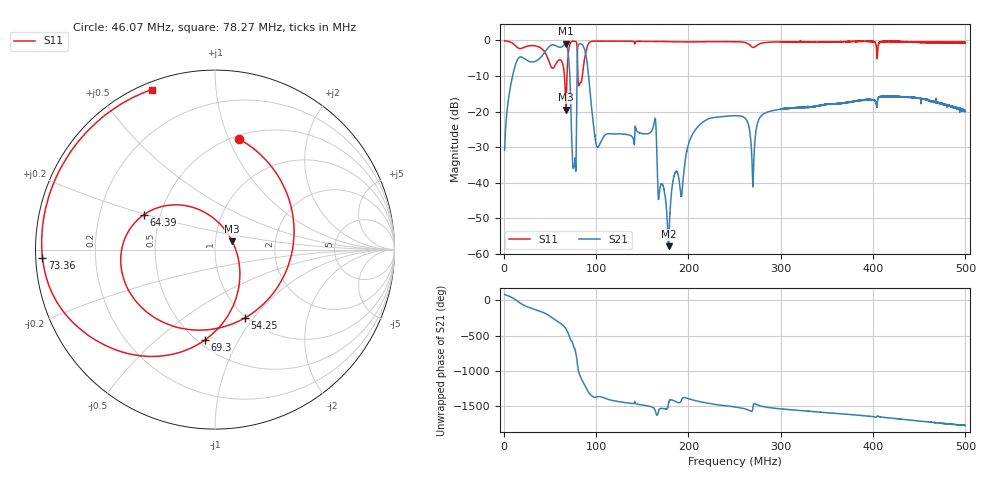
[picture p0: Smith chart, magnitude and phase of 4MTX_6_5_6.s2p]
! NanoVNA-App
! Date: 2026-08-18 21:48:41
! Start: 1MHz Stop: 500MHz Points: 6401
! S-Parameter data: F S11 S21 S12 S22
# Hz S RI R 50
!  Frequency  S11_Real  S11_Imag  S21_Real  S21_Imag  S12_Real  S12_Imag  S22_Real  S22_Imag
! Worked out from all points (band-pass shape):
!   6401 points, 1 MHz to 500 MHz, reference 50 ohm
!   highest |S21| = -0.88 dB at 67.12 MHz (marker M1); lowest = -57.9 dB at 178.5 MHz (marker M2)
!   |S21| within 3 dB of the highest: 42.88 MHz to 69.9 MHz (27.02 MHz wide, 47.9 % of centre); 79.81 MHz to 88.94 MHz (9.13 MHz wide, 10.8 % of centre)
!   lowest |S11| = -19.4 dB at 67.43 MHz (marker M3), VSWR 1.24, Z = 60.3 + j5.66 ohm
!   |S11| at or under -10 dB: 65.78 MHz to 68.55 MHz (2.767 MHz wide, 4.12 % of centre); 80.32 MHz to 85.14 MHz (4.822 MHz wide, 5.83 % of centre)
!   S12 and S22 are empty: the file has one direction only
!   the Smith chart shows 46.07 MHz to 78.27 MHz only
!   S11 on the Smith chart (normalised r, x): 46.07 MHz: 0.54, +1.09; 54.25 MHz: 0.98, -0.91; 64.39 MHz: 0.41, +0.20; 69.3 MHz: 0.54, -0.74; 73.36 MHz: 0.02, -0.02; 78.27 MHz: 0.03, +0.68
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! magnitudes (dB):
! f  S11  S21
! 1 MHz  -0.1  -30.9
! 14.49 MHz  -1.9  -5.6
! 46.07 MHz  -4.0  -2.7
! 54.25 MHz  -7.6  -1.3
! 64.39 MHz  -7.1  -1.5
! 67.12 MHz  -17.9  -0.9
! 67.43 MHz  -19.4  -0.9
! 69.3 MHz  -5.9  -2.6
! 73.36 MHz  -0.3  -25.1
! 76.16 MHz  -0.3  -35.3
! 78.27 MHz  -0.4  -35.6
! 84.19 MHz  -11.6  -1.0
! 101.3 MHz  -0.2  -30.1
! 162.7 MHz  -0.3  -23.6
! 167.4 MHz  -0.3  -44.1
! 178.5 MHz  -0.3  -57.9
! 205.8 MHz  -0.4  -25.8
! 250.5 MHz  -0.4  -21.2
! 269.9 MHz  -2.0  -41.2
! 333.7 MHz  -0.5  -18.6
! 416.9 MHz  -0.4  -15.8
! 500 MHz  -0.6  -19.9
